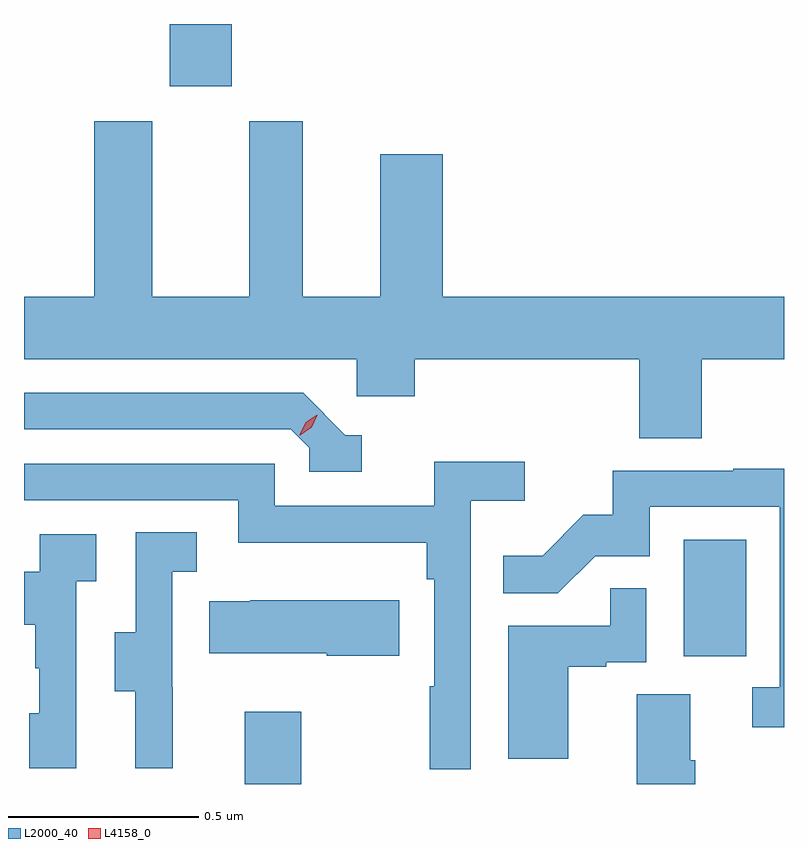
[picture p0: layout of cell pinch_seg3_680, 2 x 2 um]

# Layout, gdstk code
import gdstk
lib = gdstk.Library(unit=1e-6, precision=1e-09)
def R(c, l, rs):  # rectangles x0, y0, x1, y1
    for r in rs: c.add(gdstk.rectangle(r[:2], r[2:], *l))
def P(c, l, *ps):  # polygons
    for p in ps: c.add(gdstk.Polygon(p, *l))
L2000_40 = (2000, 40)
L4158_0 = (4158, 0)

pinch_seg3_680 = lib.new_cell('pinch_seg3_680')
R(pinch_seg3_680, L2000_40, [(1075.739,683.814,1075.887,684.004), (1076.894,684.15,1077.058,684.457), (1075.541,685.65,1075.705,685.814)])
P(pinch_seg3_680, L2000_40, [(1076.942,684.932),(1077.158,684.932),(1077.158,685.096),(1076.26,685.096),(1076.26,685.471),(1076.096,685.471),(1076.096,685.096),(1075.891,685.096),(1075.891,685.558),(1075.751,685.558),(1075.751,685.096),(1075.495,685.096),(1075.495,685.558),(1075.343,685.558),(1075.343,685.096),(1075.158,685.096),(1075.158,684.932),(1076.034,684.932),(1076.034,684.834),(1076.186,684.834),(1076.186,684.932),(1076.777,684.932),(1076.777,684.724),(1076.942,684.724)],
  [(1076.047,684.732),(1076.004,684.732),(1075.893,684.843),(1075.158,684.843),(1075.158,684.747),(1075.86,684.747),(1075.908,684.699),(1075.908,684.636),(1076.047,684.636)],
  [(1076.334,684.56),(1076.476,684.56),(1076.476,684.662),(1076.237,684.662),(1076.237,684.546),(1075.818,684.546),(1075.818,684.657),(1075.158,684.657),(1075.158,684.561),(1075.722,684.561),(1075.722,684.449),(1076.218,684.449),(1076.218,684.353),(1076.238,684.353),(1076.238,684.071),(1076.226,684.071),(1076.226,683.853),(1076.334,683.853)],
  [(1077.158,684.644),(1077.025,684.644),(1077.025,684.639),(1076.707,684.639),(1076.707,684.522),(1076.63,684.522),(1076.523,684.415),(1076.419,684.415),(1076.419,684.316),(1076.563,684.316),(1076.661,684.414),(1076.805,684.414),(1076.805,684.543),(1077.147,684.543),(1077.147,684.069),(1077.075,684.069),(1077.075,683.964),(1077.158,683.964)],
  [(1075.55,684.069),(1075.548,684.069),(1075.548,684.373),(1075.612,684.373),(1075.612,684.476),(1075.452,684.476),(1075.452,684.213),(1075.397,684.213),(1075.397,684.058),(1075.451,684.058),(1075.451,683.856),(1075.55,683.856)],
  [(1075.296,684.347),(1075.348,684.347),(1075.348,684.471),(1075.2,684.471),(1075.2,684.373),(1075.158,684.373),(1075.158,684.233),(1075.188,684.233),(1075.188,684.119),(1075.198,684.119),(1075.198,684),(1075.172,684),(1075.172,683.856),(1075.296,683.856)],
  [(1076.59,684.123),(1076.69,684.123),(1076.69,684.135),(1076.796,684.135),(1076.796,684.329),(1076.701,684.329),(1076.701,684.231),(1076.432,684.231),(1076.432,683.88),(1076.59,683.88)],
  [(1076.146,684.298),(1075.753,684.298),(1075.753,684.295),(1075.645,684.295),(1075.645,684.158),(1075.955,684.158),(1075.955,684.151),(1076.146,684.151)],
  [(1076.924,683.876),(1076.911,683.876),(1076.911,684.05),(1076.771,684.05),(1076.771,683.814),(1076.924,683.814)])
P(pinch_seg3_680, L4158_0, [(1075.884,684.732),(1075.884,684.733),(1075.9,684.766),(1075.93,684.786),(1075.93,684.786),(1075.93,684.785),(1075.915,684.753),(1075.885,684.732)])

lib.write_gds('pinch_seg3_680.gds')
